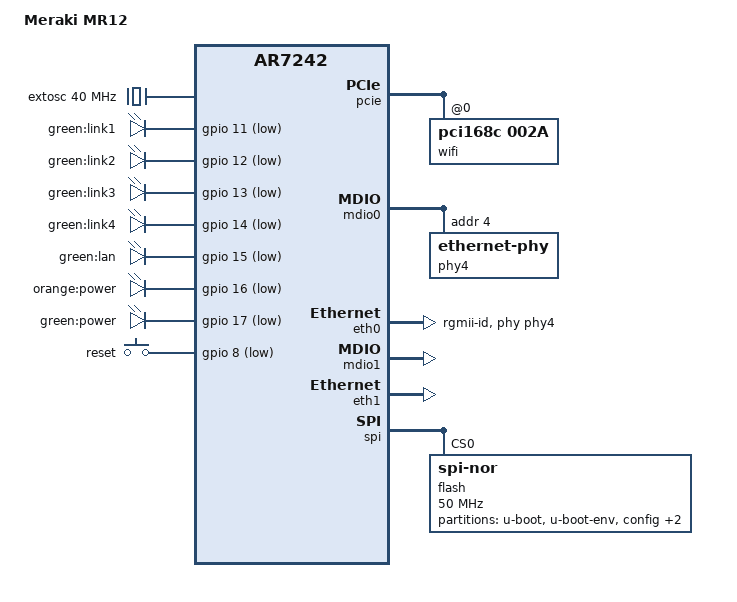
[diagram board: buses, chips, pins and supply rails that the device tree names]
// SPDX-License-Identifier: GPL-2.0-or-later OR MIT

#include "ar7242.dtsi"

#include <dt-bindings/gpio/gpio.h>
#include <dt-bindings/input/input.h>

/ {
	compatible = "meraki,mr12", "qca,ar7242";
	model = "Meraki MR12";

	aliases {
		led-boot = &led_power_orange;
		led-failsafe = &led_power_orange;
		led-running = &led_power_green;
		led-upgrade = &led_power_orange;
	};

	extosc: ref {
		compatible = "fixed-clock";
		#clock-cells = <0>;
		clock-output-names = "ref";
		clock-frequency = <40000000>;
	};

	leds {
		compatible = "gpio-leds";

		link1 {
			label = "green:link1";
			gpios = <&gpio 11 GPIO_ACTIVE_LOW>;
		};

		link2 {
			label = "green:link2";
			gpios = <&gpio 12 GPIO_ACTIVE_LOW>;
		};

		link3 {
			label = "green:link3";
			gpios = <&gpio 13 GPIO_ACTIVE_LOW>;
		};

		link4 {
			label = "green:link4";
			gpios = <&gpio 14 GPIO_ACTIVE_LOW>;
		};

		lan {
			label = "green:lan";
			gpios = <&gpio 15 GPIO_ACTIVE_LOW>;
		};

		led_power_orange: power_orange {
			label = "orange:power";
			gpios = <&gpio 16 GPIO_ACTIVE_LOW>;
			panic-indicator;
		};

		led_power_green: power_green {
			label = "green:power";
			gpios = <&gpio 17 GPIO_ACTIVE_LOW>;
		};
	};

	keys {
		compatible = "gpio-keys";

		reset {
			label = "reset";
			linux,code = <KEY_RESTART>;
			gpios = <&gpio 8 GPIO_ACTIVE_LOW>;
		};
	};
};

&pcie {
	status = "okay";

	wifi@0,0,0 {
		compatible = "pci168c,002a";
		reg = <0x0000 0 0 0 0>;
		qca,no-eeprom;
		nvmem-cells = <&macaddr_config_66>;
		nvmem-cell-names = "mac-address";
		mac-address-increment = <1>;
	};
};

&pll {
	clocks = <&extosc>;
};

&mdio0 {
	status = "okay";

	phy4: ethernet-phy@4 {
		reg = <4>;
	};
};

&eth0 {
	status = "okay";

	nvmem-cells = <&macaddr_config_66>;
	nvmem-cell-names = "mac-address";

	pll-data = <0x02000000 0x00000101 0x00001313>;

	phy-mode = "rgmii-id";
	phy-handle = <&phy4>;
};

&mdio1 {
	status = "okay";
};

&eth1 {
	status = "okay";

	nvmem-cells = <&macaddr_config_66>;
	nvmem-cell-names = "mac-address";
};

&spi {
	status = "okay";

	flash@0 {
		compatible = "jedec,spi-nor";
		reg = <0>;
		spi-max-frequency = <50000000>;

		partitions {
			compatible = "fixed-partitions";
			#address-cells = <1>;
			#size-cells = <1>;

			partition@0 {
				label = "u-boot";
				reg = <0x000000 0x40000>;
				read-only;
			};

			partition@40000 {
				label = "u-boot-env";
				reg = <0x40000 0x40000>;
				read-only;
			};

			config: partition@80000 {
				label = "config";
				reg = <0x80000 0x20000>;
				read-only;
			};

			partition@a0000 {
				label = "firmware";
				reg = <0xa0000 0xf40000>;
				compatible = "denx,uimage";
			};

			partition@fe0000 {
				label = "art";
				reg = <0xfe0000 0x20000>;
				read-only;
			};
		};
	};
};

&config {
	compatible = "nvmem-cells";
	#address-cells = <1>;
	#size-cells = <1>;

	macaddr_config_66: macaddr@66 {
		reg = <0x66 0x6>;
	};
};
